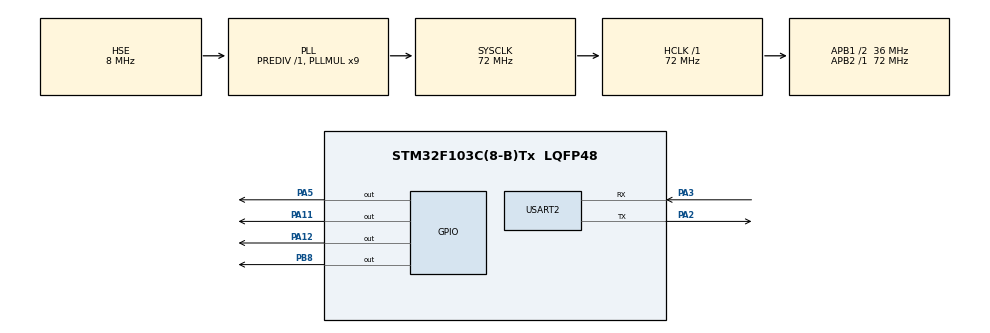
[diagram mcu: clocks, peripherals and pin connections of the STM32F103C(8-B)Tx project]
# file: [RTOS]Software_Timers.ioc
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FREERTOS.Tasks01=defaultTask,24,64,StartDefaultTask,Default,NULL,Dynamic,NULL,NULL;blinkLed2,8,64,StartTask02,Default,NULL,Dynamic,NULL,NULL;bilnkLed1,8,64,StartTask01,Default,NULL,Dynamic,NULL,NULL;UART2,8,128,StartTask03,Default,NULL,Dynamic,NULL,NULL
FREERTOS.Timers01=PeriodicTimer1,timer1Callback,osTimerPeriodic,Default,NULL,Dynamic,NULL;PeriodicTimer2,timer2Callback,osTimerPeriodic,Default,NULL,Dynamic,NULL;OneShotTimer3,timer3Callback,osTimerPeriodic,Default,NULL,Dynamic,NULL
FREERTOS.configMINIMAL_STACK_SIZE=64
FREERTOS.configTOTAL_HEAP_SIZE=4096
Mcu.Family=STM32F1
Mcu.Name=STM32F103C(8-B)Tx
Mcu.Package=LQFP48
NVIC.PriorityGroup=NVIC_PRIORITYGROUP_4
PA11.Signal=GPIO_Output
PA12.Signal=GPIO_Output
PA13.Mode=Serial_Wire
PA13.Signal=SYS_JTMS-SWDIO
PA14.Mode=Serial_Wire
PA14.Signal=SYS_JTCK-SWCLK
PA2.Mode=Asynchronous
PA2.Signal=USART2_TX
PA3.Mode=Asynchronous
PA3.Signal=USART2_RX
PA5.Signal=GPIO_Output
PB8.Signal=GPIO_Output
PD0-OSC_IN.Mode=HSE-External-Oscillator
PD0-OSC_IN.Signal=RCC_OSC_IN
PD1-OSC_OUT.Mode=HSE-External-Oscillator
PD1-OSC_OUT.Signal=RCC_OSC_OUT
ProjectManager.HeapSize=0x200
ProjectManager.StackSize=0x400
ProjectManager.TargetToolchain=STM32CubeIDE
RCC.AHBFreq_Value=72000000
RCC.APB1CLKDivider=RCC_HCLK_DIV2
RCC.APB1Freq_Value=36000000
RCC.APB1TimFreq_Value=72000000
RCC.APB2Freq_Value=72000000
RCC.APB2TimFreq_Value=72000000
RCC.HCLKFreq_Value=72000000
RCC.PLLMUL=RCC_PLL_MUL9
RCC.PLLSourceVirtual=RCC_PLLSOURCE_HSE
RCC.SYSCLKFreq_VALUE=72000000
RCC.SYSCLKSource=RCC_SYSCLKSOURCE_PLLCLK
RCC.USBFreq_Value=72000000
USART2.VirtualMode=VM_ASYNC
VP_FREERTOS_VS_CMSIS_V2.Mode=CMSIS_V2
board=custom

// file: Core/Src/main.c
/* USER CODE BEGIN Header */
/**
 ******************************************************************************
 * @file           : main.c
 * @brief          : Main program body
 ******************************************************************************
 * @attention
 *
 * <h2><center>&copy; Copyright (c) 2020 STMicroelectronics.
 * All rights reserved.</center></h2>
 *
 * This software component is licensed by ST under Ultimate Liberty license
 * SLA0044, the "License"; You may not use this file except in compliance with
 * the License. You may obtain a copy of the License at:
 *                             www.st.com/SLA0044
 *
 ******************************************************************************
 */
/* USER CODE END Header */
#include "main.h"
#include "cmsis_os.h"

/* USER CODE BEGIN Includes */
#include "stdio.h"
#include "string.h"
#include "timers.h"
#include "myLib.h"
#include "myRTOSaddons.h"
/* USER CODE END Includes */

/* USER CODE BEGIN PD */
#define ONESHOT_TIMER_3 (pdMS_TO_TICKS(3333))
#define TIMER_1_FREQ (pdMS_TO_TICKS(50))
#define TIMER_2_FREQ (pdMS_TO_TICKS(333))

/* USER CODE END PD */

UART_HandleTypeDef huart2;

/* Definitions for blinkLed1 */
osThreadId_t blinkLed1Handle;
const osThreadAttr_t blinkLed1_attributes =
    {
        .name = "blinkLed1",
        .priority = (osPriority_t)osPriorityLow4,
        .stack_size = 64 * 4};
/* Definitions for software timers */

TimerHandle_t PeriodicTimer1Handle;
TimerHandle_t PeriodicTimer2Handle;
TimerHandle_t OneShotTimer3Handle;

/* USER CODE BEGIN PV */
uint32_t error_count = 0;
static char main_string[10];
const uint32_t TIMER_1_ID = 1;
const uint32_t TIMER_2_ID = 2;
const uint32_t TIMER_3_ID = 3;
/* USER CODE END PV */

void SystemClock_Config(void);
static void MX_GPIO_Init(void);
static void MX_USART2_UART_Init(void);

void blinkTask(void *argument);
void timer1Callback(void *argument);
void timer2Callback(void *argument);
void timer3Callback(void *argument);

int main(void)
{

  /* MCU Configuration--------------------------------------------------------*/

  /* Reset of all peripherals, Initializes the Flash interface and the Systick. */
  HAL_Init();

  /* Configure the system clock */
  SystemClock_Config();

  /* Initialize all configured peripherals */
  MX_GPIO_Init();
  MX_USART2_UART_Init();
  /* USER CODE BEGIN 2 */
  offAllLed;
  /* USER CODE END 2 */

  /* Init scheduler */
  osKernelInitialize();

  /* Create the timer(s) */
  /* creation of PeriodicTimer1 */
  PeriodicTimer1Handle = xTimerCreate("PeriodicTimer1", TIMER_1_FREQ,
                                      pdTRUE, 0, timer1Callback);
  PeriodicTimer2Handle = xTimerCreate("PeriodicTimer2", TIMER_2_FREQ,
                                      pdTRUE, 0, timer2Callback);
  OneShotTimer3Handle = xTimerCreate("OneShotTimer3", ONESHOT_TIMER_3,
                                     pdFALSE, 0, timer3Callback);
  vTimerSetTimerID(PeriodicTimer1Handle, (void *)TIMER_1_ID);
  vTimerSetTimerID(PeriodicTimer2Handle, (void *)TIMER_2_ID);
  vTimerSetTimerID(OneShotTimer3Handle, (void *)TIMER_3_ID);
  /* USER CODE BEGIN RTOS_TIMERS */
  /* start timers, add new ones, ... */
  if ((PeriodicTimer1Handle == NULL) || (PeriodicTimer2Handle == NULL) || (OneShotTimer3Handle == NULL))
  {
    error_count++;
    PRINTF("Failed to initialize software timers\r\n");
  }
  else
  {
    /* Start software timers */
    xTimerStart(PeriodicTimer1Handle, 0);
    xTimerStart(PeriodicTimer2Handle, 0);
    xTimerStart(OneShotTimer3Handle, 0);
  }
  /* USER CODE END RTOS_TIMERS */

  /* USER CODE BEGIN RTOS_THREADS */
  blinkLed1Handle = osThreadNew(blinkTask, NULL, &blinkLed1_attributes);
  if (blinkLed1Handle == NULL)
  {
    PRINTF("Failed to create user tasks\r\n");
    error_count++;
  }
  /* USER CODE END RTOS_THREADS */

  if (error_count == 0)
  {
    PRINT_VAR(error_count);
    PRINTF("Start RTOS_Kernel\r\n");
    osKernelStart();
  }
  else
  {
    PRINTF("Failed to start RTOS_Kernel\r\n");
  }
  /* Start scheduler */

  /* We should never get here as control is now taken by the scheduler */
  /* Infinite loop */
  while (1)
  {

  }
}

void SystemClock_Config(void)
{
  RCC_OscInitTypeDef RCC_OscInitStruct = {0};
  RCC_ClkInitTypeDef RCC_ClkInitStruct = {0};

  /** Initializes the RCC Oscillators according to the specified parameters
     * in the RCC_OscInitTypeDef structure.
     */
  RCC_OscInitStruct.OscillatorType = RCC_OSCILLATORTYPE_HSE;
  RCC_OscInitStruct.HSEState = RCC_HSE_ON;
  RCC_OscInitStruct.HSEPredivValue = RCC_HSE_PREDIV_DIV1;
  RCC_OscInitStruct.HSIState = RCC_HSI_ON;
  RCC_OscInitStruct.PLL.PLLState = RCC_PLL_ON;
  RCC_OscInitStruct.PLL.PLLSource = RCC_PLLSOURCE_HSE;
  RCC_OscInitStruct.PLL.PLLMUL = RCC_PLL_MUL9;
  if (HAL_RCC_OscConfig(&RCC_OscInitStruct) != HAL_OK)
  {
    Error_Handler();
  }
  /** Initializes the CPU, AHB and APB buses clocks
     */
  RCC_ClkInitStruct.ClockType = RCC_CLOCKTYPE_HCLK | RCC_CLOCKTYPE_SYSCLK | RCC_CLOCKTYPE_PCLK1 | RCC_CLOCKTYPE_PCLK2;
  RCC_ClkInitStruct.SYSCLKSource = RCC_SYSCLKSOURCE_PLLCLK;
  RCC_ClkInitStruct.AHBCLKDivider = RCC_SYSCLK_DIV1;
  RCC_ClkInitStruct.APB1CLKDivider = RCC_HCLK_DIV2;
  RCC_ClkInitStruct.APB2CLKDivider = RCC_HCLK_DIV1;

  if (HAL_RCC_ClockConfig(&RCC_ClkInitStruct, FLASH_LATENCY_2) != HAL_OK)
  {
    Error_Handler();
  }
}

static void MX_USART2_UART_Init(void)
{

  huart2.Instance = USART2;
  huart2.Init.BaudRate = 115200;
  huart2.Init.WordLength = UART_WORDLENGTH_8B;
  huart2.Init.StopBits = UART_STOPBITS_1;
  huart2.Init.Parity = UART_PARITY_NONE;
  huart2.Init.Mode = UART_MODE_TX_RX;
  huart2.Init.HwFlowCtl = UART_HWCONTROL_NONE;
  huart2.Init.OverSampling = UART_OVERSAMPLING_16;
  if (HAL_UART_Init(&huart2) != HAL_OK)
  {
    Error_Handler();
  }
}

static void MX_GPIO_Init(void)
{
  GPIO_InitTypeDef GPIO_InitStruct = {0};

  /* GPIO Ports Clock Enable */
  __HAL_RCC_GPIOD_CLK_ENABLE();
  __HAL_RCC_GPIOA_CLK_ENABLE();
  __HAL_RCC_GPIOB_CLK_ENABLE();

  /*Configure GPIO pin Output Level */
  HAL_GPIO_WritePin(GPIOA, GPIO_PIN_5 | GPIO_PIN_11 | GPIO_PIN_12,
                    GPIO_PIN_RESET);

  /*Configure GPIO pin Output Level */
  HAL_GPIO_WritePin(GPIOB, GPIO_PIN_8, GPIO_PIN_RESET);

  /*Configure GPIO pins : PA5 PA11 PA12 */
  GPIO_InitStruct.Pin = GPIO_PIN_5 | GPIO_PIN_11 | GPIO_PIN_12;
  GPIO_InitStruct.Mode = GPIO_MODE_OUTPUT_PP;
  GPIO_InitStruct.Pull = GPIO_NOPULL;
  GPIO_InitStruct.Speed = GPIO_SPEED_FREQ_LOW;
  HAL_GPIO_Init(GPIOA, &GPIO_InitStruct);

  /*Configure GPIO pin : PB8 */
  GPIO_InitStruct.Pin = GPIO_PIN_8;
  GPIO_InitStruct.Mode = GPIO_MODE_OUTPUT_PP;
  GPIO_InitStruct.Pull = GPIO_NOPULL;
  GPIO_InitStruct.Speed = GPIO_SPEED_FREQ_LOW;
  HAL_GPIO_Init(GPIOB, &GPIO_InitStruct);
}

void blinkTask(void *argument)
{
  /* USER CODE BEGIN blinkTask */
  /* Infinite loop */
  for (;;)
  {
    toggleLed1;
    osDelay(1000);
  }
  /* USER CODE END blinkTask */
}

/* timer1Callback function */
void timer1Callback(void *argument)
{
  TickType_t tick_now;
  static uint32_t timer1_freq = TIMER_1_FREQ;
  /* Obtain current tick count */
  tick_now = xTaskGetTickCount();

  toggleLed4;
  newline;
  PRINTF("Timer1 executes every ");
  PRINT_VAR(timer1_freq);
  PRINT_VAR(tick_now);
}

/* timer2Callback function */
void timer2Callback(void *argument)
{
  TickType_t tick_now;
  static uint32_t timer2_freq = TIMER_2_FREQ;
  /* Count number of time Timer2 has expired */
  static uint32_t timer2_expired_count = 0;

  tick_now = xTaskGetTickCount();

  toggleLed2;
  newline;
  PRINTF("Timer2 execute every ");
  PRINT_VAR(timer2_freq);
  PRINT_VAR(tick_now);

  ++timer2_expired_count;
  /* Modify timer 2 period every 5 times expires */
  if (timer2_expired_count % 5 == 0)
  {
    PRINTF("Change timer 2 freq & Reset Timer 3\r\n");
    timer2_freq += 50;
    /* Modify timer 2 period */
    xTimerChangePeriod(PeriodicTimer2Handle, timer2_freq, 0);
    xTimerReset(OneShotTimer3Handle, 0);
    /* Print debug value */
  }
}
/* timer3Callback function */
void timer3Callback(void *argument)
{
  TickType_t tick_now;
  tick_now = xTaskGetTickCount(); /* Get current tick count */

  toggleLed3;
  newline;
  PRINTF("Timer3 execute after first 3333ms\r\n");
  PRINT_VAR(tick_now);
}

void Error_Handler(void)
{
}

/************************ (C) COPYRIGHT STMicroelectronics *****END OF FILE****/
